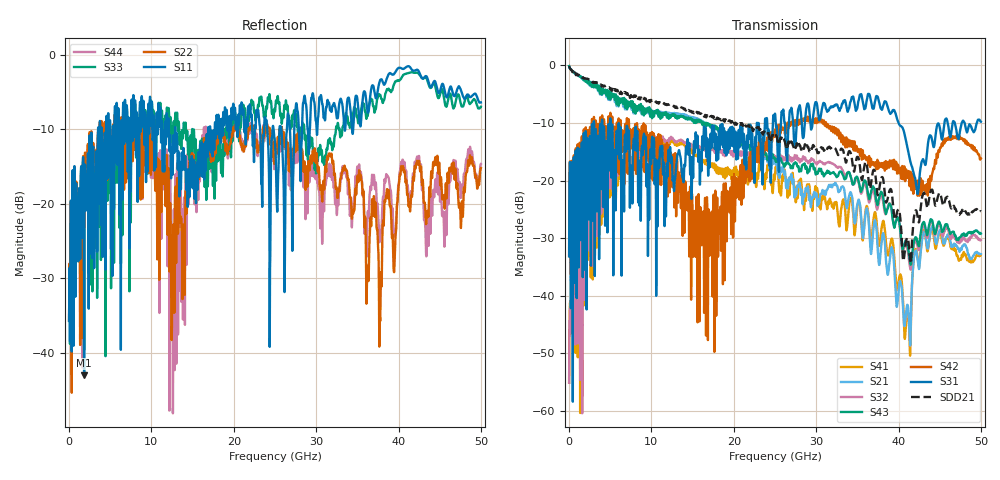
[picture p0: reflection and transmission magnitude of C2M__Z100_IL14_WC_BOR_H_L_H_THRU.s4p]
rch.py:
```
import skrf as rf
import numpy as np

# === USER SETTINGS ===
s4p_path = "C2M__Z100_IL14_WC_BOR_H_L_H_THRU.s4p"   # Path to your file
R0 = 50.0                       # Characteristic impedance per line
zs = R0                         # Source termination (Ω)
zl = R0                         # Load termination (Ω)
is_differential = False         # Set True if file is a 4-port differential channel

# === LOAD NETWORK ===
ntw = rf.Network(s4p_path)
print(f"Loaded {ntw.nports}-port network with freq range {ntw.f[0]/1e9:.3f}–{ntw.f[-1]/1e9:.3f} GHz")

# === IF DIFFERENTIAL, CONVERT TO MIXED-MODE 2-PORT ===
if is_differential and ntw.nports == 4:
    mm = ntw.copy()
    mm.renumber([0,1,2,3], [0,2,1,3])   # enforce correct ordering if needed
    mm = mm.s2mm()                      # convert to mixed-mode
    ntw = mm.subnetwork([0,1])          # keep differential-differential subnetwork
    print("Converted to differential mixed-mode 2-port.")

# === EXTRACT LOW-FREQ S-PARAMS ===
S = ntw.s[0]   # take lowest frequency point (index 0)
S11, S12, S21, S22 = S[0,0], S[0,1], S[1,0], S[1,1]
S21_mag = abs(S21)
print(f"S21(0) = {S21_mag:.5f} magnitude, {np.angle(S21, deg=True):.2f}° phase")

# === COMPUTE REFLECTION COEFFICIENTS ===
z0 = 2 * R0    # matches your MATLAB code's "z0 = 2 * simSettings.z0"
Gamma1 = (2*zs - z0) / (2*zs + z0)
Gamma2 = (2*zl - z0) / (2*zl + z0)

# === COMPUTE H_ch USING SAME EQUATION AS MATLAB ===
DeltaS = S11*S22 - S12*S21
numerator = S21 * (1 - Gamma1) * (1 + Gamma2)
denominator = 1 - S11*Gamma1 - S22*Gamma2 + Gamma1*Gamma2*DeltaS
Hch0 = numerator / denominator
Hch_mag = abs(Hch0)
print(f"H_ch(0) = {Hch_mag:.5f}")

# === COMPUTE Rch ===
# For matched terminations (Gamma1=Gamma2=0), simplifies to 2*R0*(1/|Hch|-1)
Rch = R0 * (1/Hch_mag - 2) if (Gamma1 or Gamma2) else 2*R0*(1/Hch_mag - 1)
print(f"Estimated R_ch = {Rch:.3f} Ω")
```
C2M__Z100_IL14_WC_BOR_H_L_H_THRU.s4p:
# GHz S MA R 50
! S-Parameters data
! Freq  magS11  angS11  magS12  angS12  magS13  angS13  magS14  angS14
!  magS21  angS21  magS22  angS22  magS23  angS23  magS24  angS24
!  magS31  angS31  magS32  angS32  magS33  angS33  magS34  angS34
!  magS41  angS41  magS42  angS42  magS43  angS43  magS44  angS44
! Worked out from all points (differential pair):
!   5000 points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, 10 MHz to 50 GHz, reference 50 ohm
!   strongest paths, dB at 10 MHz, 12.51 GHz, 25.01 GHz, 37.51 GHz, 50 GHz:
!     S31: -33.1, -17.1, -8.4, -5.6, -9.8
!     S42: -33.1, -16.5, -11.6, -17.6, -16.1
!     S43: -0.1, -8.7, -16.3, -23.9, -29.2
!     S32: -55.1, -12.6, -16.1, -24.4, -30.3
!     S21: -0.1, -8.4, -16.6, -32.7, -32.8
!     S41: -55.1, -12.9, -19.0, -30.3, -32.9
!   taken as a pair (ports 3,1 in; 4,2 out), SDD21 dB: -0.1, -6.9, -11.8, -22.5, -25.4
!   lowest |S11| = -43.0 dB at 1.83 GHz (marker M1), VSWR 1.01, Z = 50.4 - j0.585 ohm
!   |S11| at or under -10 dB: start of sweep to 3.523 GHz; 12.12 GHz to 12.86 GHz (734.9 MHz wide, 5.88 % of centre); 12.91 GHz to 16.89 GHz (3.985 GHz wide, 26.7 % of centre)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
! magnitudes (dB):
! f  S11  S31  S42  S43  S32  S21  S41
! 10 MHz  -35.7  -33.1  -33.1  -0.1  -55.1  -0.1  -55.1
! 1.83 GHz  -43.0  -12.9  -12.1  -2.4  -37.3  -2.4  -37.7
! 50 GHz  -6.4  -9.8  -16.1  -29.2  -30.3  -32.8  -32.9
